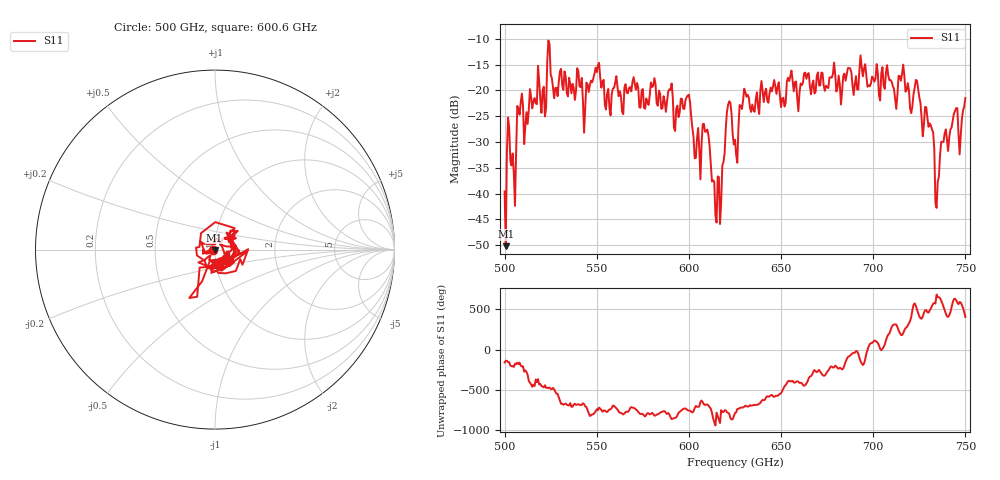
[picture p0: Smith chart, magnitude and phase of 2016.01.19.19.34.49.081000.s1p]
!Created with skrf (http://scikit-rf.org).
# GHz S RI R 50.0
!freq ReS11 ImS11
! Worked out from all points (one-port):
!   401 points, 500 GHz to 750 GHz, reference 50 ohm
!   lowest |S11| = -50.2 dB at 500.6 GHz (marker M1), VSWR 1.01, Z = 49.8 - j0.201 ohm
!   |S11| at or under -10 dB: start of sweep to end of sweep
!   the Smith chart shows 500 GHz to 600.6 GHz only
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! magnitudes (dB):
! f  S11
! 500 GHz  -39.6
! 500.6 GHz  -50.2
! 502.5 GHz  -27.2
! 505 GHz  -36.0
! 508.1 GHz  -24.7
! 521.2 GHz  -19.3
! 524.4 GHz  -11.0
! 527.5 GHz  -19.5
! 531.2 GHz  -19.0
! 550 GHz  -16.4
! 562.5 GHz  -20.1
! 580.6 GHz  -19.1
! 593.8 GHz  -22.9
! 599.4 GHz  -21.0
! 605 GHz  -27.3
! 609.4 GHz  -28.0
! 615.6 GHz  -36.7
! 621.2 GHz  -22.8
! 625 GHz  -29.5
! 630.6 GHz  -20.3
! 656.2 GHz  -18.1
! 687.5 GHz  -15.7
! 718.8 GHz  -18.6
! 729.4 GHz  -25.3
! 735 GHz  -37.7
! 738.1 GHz  -29.9
! 747.5 GHz  -28.6
! 750 GHz  -21.5
